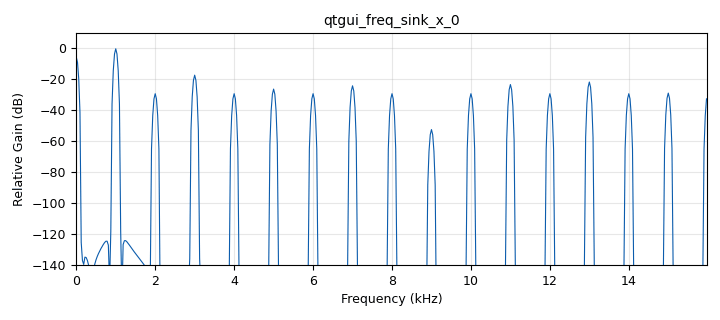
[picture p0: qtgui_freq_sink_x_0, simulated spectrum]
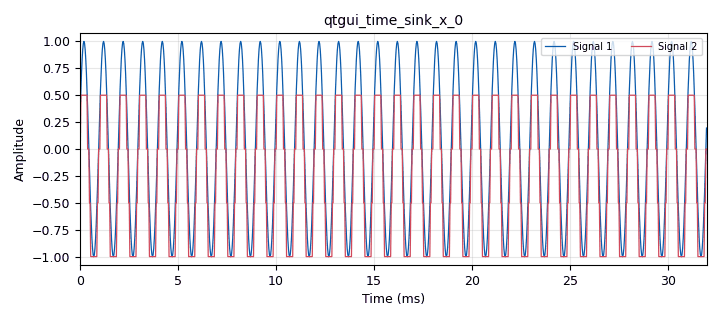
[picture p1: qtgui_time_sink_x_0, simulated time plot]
options:
  parameters:
    author: Steve Hageman
    copyright: None
    description: Test GRC File for Quantizer
    generate_options: qt_gui
    id: quantizer_embedded_python_block
    output_language: python
    title: 'Embedded Python Block: Quantizer'
  states: {}

blocks:
- name: ampl
  id: variable_qtgui_range
  parameters:
    gui_hint: 1,0
    label: Signal Amplitude
    start: '0.1'
    step: '0.1'
    stop: '10'
    value: '1'
  states: {}
- name: bits
  id: variable_qtgui_range
  parameters:
    gui_hint: 3,0
    label: Quantizer Bits
    start: '2'
    step: '1'
    stop: '16'
    value: '2'
  states: {}
- name: clipping
  id: variable_qtgui_check_box
  parameters:
    'false': 'False'
    gui_hint: 5,0
    label: Quantizer Clipping
    'true': 'True'
    type: int
    value: 'True'
  states: {}
- name: freq
  id: variable_qtgui_range
  parameters:
    gui_hint: 0,0
    label: Signal Frequency
    start: 1e3
    step: '1'
    stop: 6e3
    value: 1e3
  states: {}
- name: samp_rate
  id: variable
  parameters:
    value: '32000'
  states: {}
- name: seperator
  id: variable_qtgui_label
  parameters:
    comment: Just a GUI space
    gui_hint: 2,0
    label: ' '
    type: string
    value: ' '
  states: {}
- name: vref
  id: variable_qtgui_range
  parameters:
    gui_hint: 4,0
    label: Quantizer Vref
    start: '0'
    step: '1'
    stop: '2'
    value: '1.0'
  states: {}
- name: Quantizer
  id: epy_block
  parameters:
    _source_code: |
      """
      A Simple Signal Quantizer for GNURadio, written as an embedded Python Block.
      Freeware
      Steve Hageman, 30Aug24
      """

      import numpy as np
      from gnuradio import gr


      class blk(gr.sync_block):  # other base classes are basic_block, decim_block, interp_block
          """Embedded Python Block - Quantizer"""

          def __init__(self, bits=255, vref=1.0, clipping=False):  # only default arguments here
              """ bits (int)      = The number of bits to quantize input signal to
                  vref (float)    = The reference voltage, the range is from: (-vref) to (+vref - 1 LSB)
                  clipping (bool) = Flag to specify if the output signal is to be clipped to the
                                    range: (-vref) to (+vref - 1 LSB) as would be in a real ADC or DAC.
                                    Default is no clipping.
              """
              gr.sync_block.__init__(
                  self,
                  name='Quantizer',   # will show up in GRC
                  in_sig=[np.float32],
                  out_sig=[np.float32]
              )

              # Save class variables
              self.bits = bits
              self.vref = vref
              self.clipping = clipping

          def work(self, input_items, output_items):

              # These assignments could be out in the __init__(), but then they would not be runtime adjustable.
              levels = (2**self.bits)/2
              vmax = self.vref - (self.vref / levels)
              vmin = -self.vref

              if not self.clipping:
                  # If not clipping, then the clip range is +/- Infinity
                  vmax = np.finfo(np.float32).max
                  vmin = np.finfo(np.float32).min

              # The np.floor() function quantized the signal, the np.clip function clips the signal to the range specified.
              output_items[0][:] = np.clip((np.floor(input_items[0]/self.vref*levels) / levels) * self.vref, a_max=vmax, a_min=vmin)

              return len(output_items[0])
    bits: bits
    clipping: clipping
    comment: 'Embedded Python Block: Quantizer'
    vref: vref
  states: {}
- name: analog_sig_source_x_0
  id: analog_sig_source_x
  parameters:
    amp: ampl
    comment: Simple Sine Wave Input
    freq: freq
    offset: '0'
    phase: '0'
    samp_rate: samp_rate
    type: float
    waveform: analog.GR_COS_WAVE
  states: {}
- name: blocks_multiply_const_vxx_0
  id: blocks_multiply_const_vxx
  parameters:
    comment: Scale factor for FFT Plot
    const: 10**(15.75/20.0)
    type: float
  states: {}
- name: blocks_throttle2_0
  id: blocks_throttle2
  parameters:
    samples_per_second: samp_rate
    type: float
  states: {}
- name: qtgui_freq_sink_x_0
  id: qtgui_freq_sink_x
  parameters:
    bw: samp_rate
    comment: FFT Plot
    fc: '0'
    fftsize: '1024'
    freqhalf: 'False'
    grid: 'True'
    type: float
  states: {}
- name: qtgui_time_sink_x_0
  id: qtgui_time_sink_x
  parameters:
    comment: Compare input to output signal
    nconnections: '2'
    size: '1024'
    srate: samp_rate
    tr_level: '0.5'
    tr_mode: qtgui.TRIG_MODE_NORM
    type: float
  states: {}

connections:
- [Quantizer, '0', blocks_multiply_const_vxx_0, '0']
- [Quantizer, '0', qtgui_time_sink_x_0, '1']
- [analog_sig_source_x_0, '0', Quantizer, '0']
- [analog_sig_source_x_0, '0', blocks_throttle2_0, '0']
- [analog_sig_source_x_0, '0', qtgui_time_sink_x_0, '0']
- [blocks_multiply_const_vxx_0, '0', qtgui_freq_sink_x_0, '0']

metadata:
  file_format: 1
  grc_version: 3.10.10.0
